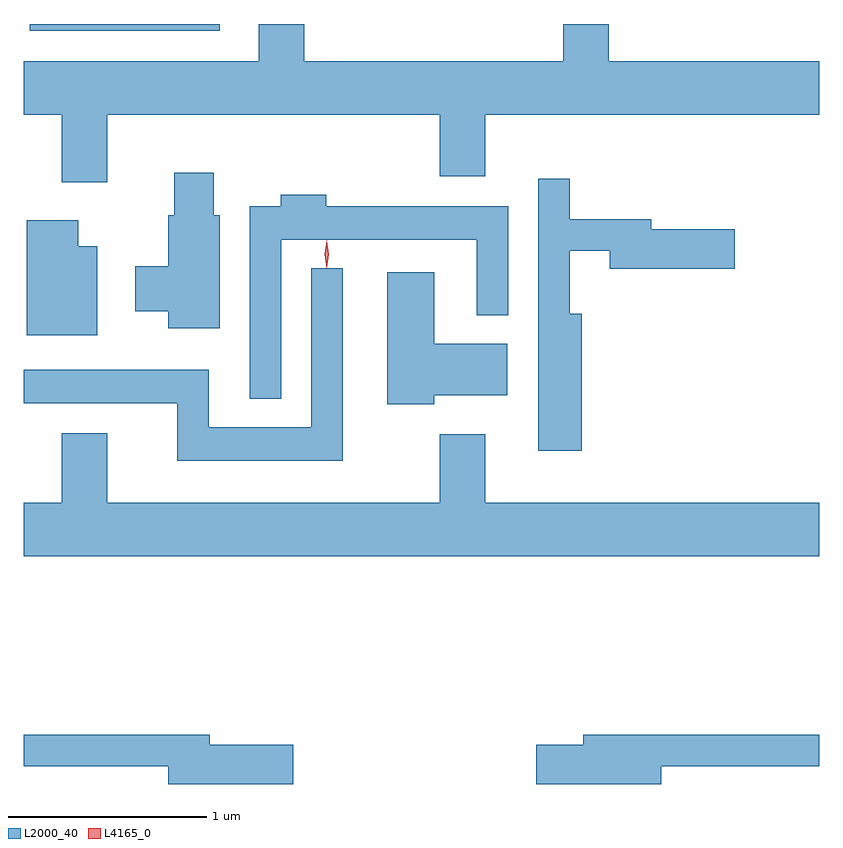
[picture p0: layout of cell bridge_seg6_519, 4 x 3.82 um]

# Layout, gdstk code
import gdstk
lib = gdstk.Library(unit=1e-6, precision=1e-09)
def R(c, l, rs):  # rectangles x0, y0, x1, y1
    for r in rs: c.add(gdstk.rectangle(r[:2], r[2:], *l))
def P(c, l, *ps):  # polygons
    for p in ps: c.add(gdstk.Polygon(p, *l))
L2000_40 = (2000, 40)
L4165_0 = (4165, 0)

bridge_seg6_519 = lib.new_cell('bridge_seg6_519')
R(bridge_seg6_519, L2000_40, [(445.451,1645.916,446.404,1645.951)])
P(bridge_seg6_519, L2000_40, [(445.839,1645.496),(447.511,1645.496),(447.511,1645.186),(447.739,1645.186),(447.739,1645.496),(449.419,1645.496),(449.419,1645.764),(448.359,1645.764),(448.359,1645.951),(448.131,1645.951),(448.131,1645.764),(446.829,1645.764),(446.829,1645.951),(446.601,1645.951),(446.601,1645.764),(445.419,1645.764),(445.419,1645.496),(445.611,1645.496),(445.611,1645.156),(445.839,1645.156)],
  [(446.404,1644.989),(446.374,1644.989),(446.374,1645.204),(446.176,1645.204),(446.176,1644.989),(446.146,1644.989),(446.146,1644.734),(445.981,1644.734),(445.981,1644.506),(446.146,1644.506),(446.146,1644.421),(446.404,1644.421)],
  [(448.224,1644.494),(448.164,1644.494),(448.164,1644.811),(448.366,1644.811),(448.366,1644.721),(448.994,1644.721),(448.994,1644.919),(448.574,1644.919),(448.574,1644.969),(448.164,1644.969),(448.164,1645.173),(448.006,1645.173),(448.006,1643.806),(448.224,1643.806)],
  [(446.714,1644.866),(447.696,1644.866),(447.696,1644.488),(447.854,1644.488),(447.854,1645.034),(446.939,1645.034),(446.939,1645.094),(446.711,1645.094),(446.711,1645.034),(446.556,1645.034),(446.556,1644.068),(446.714,1644.068)],
  [(445.789,1644.834),(445.694,1644.834),(445.694,1644.964),(445.436,1644.964),(445.436,1644.386),(445.789,1644.386)],
  [(447.024,1644.723),(446.866,1644.723),(446.866,1643.924),(446.349,1643.924),(446.349,1644.214),(445.419,1644.214),(445.419,1644.046),(446.191,1644.046),(446.191,1643.756),(447.024,1643.756)],
  [(447.484,1644.086),(447.849,1644.086),(447.849,1644.344),(447.484,1644.344),(447.484,1644.704),(447.246,1644.704),(447.246,1644.041),(447.484,1644.041)],
  [(449.419,1643.544),(447.739,1643.544),(447.739,1643.889),(447.511,1643.889),(447.511,1643.544),(445.839,1643.544),(445.839,1643.894),(445.611,1643.894),(445.611,1643.544),(445.419,1643.544),(445.419,1643.276),(449.419,1643.276)],
  [(446.774,1642.329),(446.354,1642.329),(446.354,1642.379),(445.419,1642.379),(445.419,1642.221),(446.146,1642.221),(446.146,1642.131),(446.774,1642.131)],
  [(448.624,1642.221),(449.419,1642.221),(449.419,1642.379),(448.231,1642.379),(448.231,1642.329),(447.996,1642.329),(447.996,1642.131),(448.624,1642.131)])
P(bridge_seg6_519, L4165_0, [(446.943,1644.723),(446.942,1644.724),(446.933,1644.793),(446.942,1644.862),(446.943,1644.863),(446.944,1644.862),(446.953,1644.793),(446.944,1644.724)])

lib.write_gds('bridge_seg6_519.gds')
